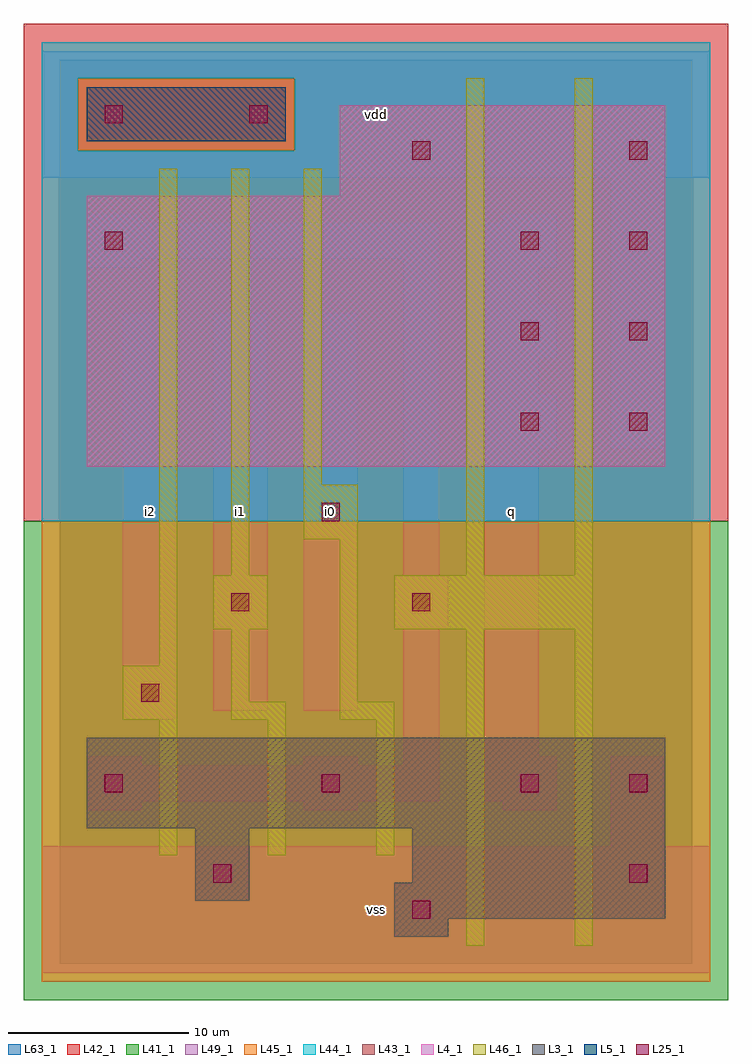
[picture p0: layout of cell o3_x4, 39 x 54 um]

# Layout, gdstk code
import gdstk
lib = gdstk.Library(unit=1e-6, precision=1e-09)
def R(c, l, rs):  # rectangles x0, y0, x1, y1
    for r in rs: c.add(gdstk.rectangle(r[:2], r[2:], *l))
def A(c, l, x, y, w, h, nx, ny, dx, dy):  # array of equal rectangles
    R(c, l, [(x+i*dx, y+j*dy, x+i*dx+w, y+j*dy+h) for i in range(nx) for j in range(ny)])
L3_1 = (3, 1)
L4_1 = (4, 1)
L5_1 = (5, 1)
L25_1 = (25, 1)
L41_1 = (41, 1)
L42_1 = (42, 1)
L43_1 = (43, 1)
L44_1 = (44, 1)
L45_1 = (45, 1)
L46_1 = (46, 1)
L49_1 = (49, 1)
L63_1 = (63, 1)

o3_x4 = lib.new_cell('o3_x4')
R(o3_x4, L3_1, [(18.5,1.5,21.5,2.5), (18.5,2.5,33.5,4.5), (7.5,3.5,10.5,7.5), (19.5,4.5,33.5,7.5), (1.5,7.5,33.5,12.5)])
R(o3_x4, L4_1, [(1.5,27.5,33.5,42.5), (15.5,42.5,33.5,47.5)])
R(o3_x4, L5_1, [(1.5,45.5,12.5,48.5)])
A(o3_x4, L25_1, 25.5, 29.5, 1, 1, 1, 3, 0, 5)
A(o3_x4, L25_1, 31.5, 29.5, 1, 1, 1, 4, 0, 5)
R(o3_x4, L25_1, [(19.5,2.5,20.5,3.5), (8.5,4.5,9.5,5.5), (31.5,4.5,32.5,5.5), (2.5,9.5,3.5,10.5), (14.5,9.5,15.5,10.5), (25.5,9.5,26.5,10.5), (31.5,9.5,32.5,10.5), (4.5,14.5,5.5,15.5), (9.5,19.5,10.5,20.5), (19.5,19.5,20.5,20.5), (14.5,24.5,15.5,25.5), (2.5,39.5,3.5,40.5), (19.5,44.5,20.5,45.5), (2.5,46.5,3.5,47.5), (10.5,46.5,11.5,47.5)])
R(o3_x4, L41_1, [(-2,-2,37,24.5)])
R(o3_x4, L42_1, [(-2,24.5,37,52)])
R(o3_x4, L43_1, [(18.5,1.5,21.5,2.5), (18.5,2.5,33.5,4.5), (7.5,3.5,10.5,7.5), (19.5,4.5,33.5,7.5), (1.5,7.5,33.5,12.5), (1.5,27.5,33.5,42.5), (15.5,42.5,33.5,47.5), (1.5,45.5,12.5,48.5)])
R(o3_x4, L44_1, [(-1,24.5,36,45), (-1,45,1,49), (13,45,36,49), (-1,49,36,51)])
R(o3_x4, L45_1, [(-1,-1,36,24.5), (1,45,13,49)])
A(o3_x4, L46_1, 5.5, 6, 1, 7.5, 3, 1, 6, 0)
R(o3_x4, L46_1, [(22.5,1,23.5,18.5), (28.5,1,29.5,18.5), (3.5,13.5,6.5,16.5), (9.5,13.5,12.5,14.5), (15.5,13.5,18.5,14.5), (9.5,14.5,10.5,18.5), (15.5,14.5,16.5,23.5), (5.5,16.5,6.5,44), (8.5,18.5,11.5,21.5), (18.5,18.5,29.5,21.5), (9.5,21.5,10.5,44), (22.5,21.5,23.5,49), (28.5,21.5,29.5,49), (13.5,23.5,16.5,26.5), (13.5,26.5,14.5,44)])
R(o3_x4, L49_1, [(-1,-0.5,36,6.5), (30.5,6.5,33.5,11.5), (1.5,8.5,4.5,9), (13.5,8.5,16.5,9), (24.5,8.5,27.5,9), (1.5,9,21,11), (23.5,9,27.5,11.5), (1.5,11,4.5,11.5), (13.5,11,16.5,11.5), (19,11,21,18.5), (23.5,11.5,26.5,28.5), (3.5,13.5,6.5,36), (8.5,14,11.5,36), (13.5,14,16.5,36), (18.5,18.5,21.5,21.5), (19,21.5,21,39), (23.5,28.5,27.5,31.5), (30.5,28.5,33.5,43.5), (23.5,31.5,26.5,33.5), (23.5,33.5,27.5,36.5), (23.5,36.5,26.5,38.5), (1.5,38.5,4.5,39), (23.5,38.5,27.5,41), (1.5,39,21,41), (1.5,41,4.5,41.5), (24.5,41,27.5,41.5), (-1,43.5,36,50.5)])
R(o3_x4, L63_1, [(0,0,35,50)])
o3_x4.add(gdstk.Label('i2', (5,25), layer=49, texttype=1))
o3_x4.add(gdstk.Label('i2', (5,25), layer=49, texttype=1))
o3_x4.add(gdstk.Label('i0', (15,25), layer=49, texttype=1))
o3_x4.add(gdstk.Label('i1', (10,25), layer=49, texttype=1))
o3_x4.add(gdstk.Label('i1', (10,25), layer=49, texttype=1))
o3_x4.add(gdstk.Label('i0', (15,25), layer=49, texttype=1))
o3_x4.add(gdstk.Label('vss', (17.5,3), layer=49, texttype=1))
o3_x4.add(gdstk.Label('vss', (17.5,3), layer=49, texttype=1))
o3_x4.add(gdstk.Label('q', (25,25), layer=49, texttype=1))
o3_x4.add(gdstk.Label('q', (25,25), layer=49, texttype=1))
o3_x4.add(gdstk.Label('vdd', (17.5,47), layer=49, texttype=1))
o3_x4.add(gdstk.Label('vdd', (17.5,47), layer=49, texttype=1))

lib.write_gds('o3_x4.gds')
